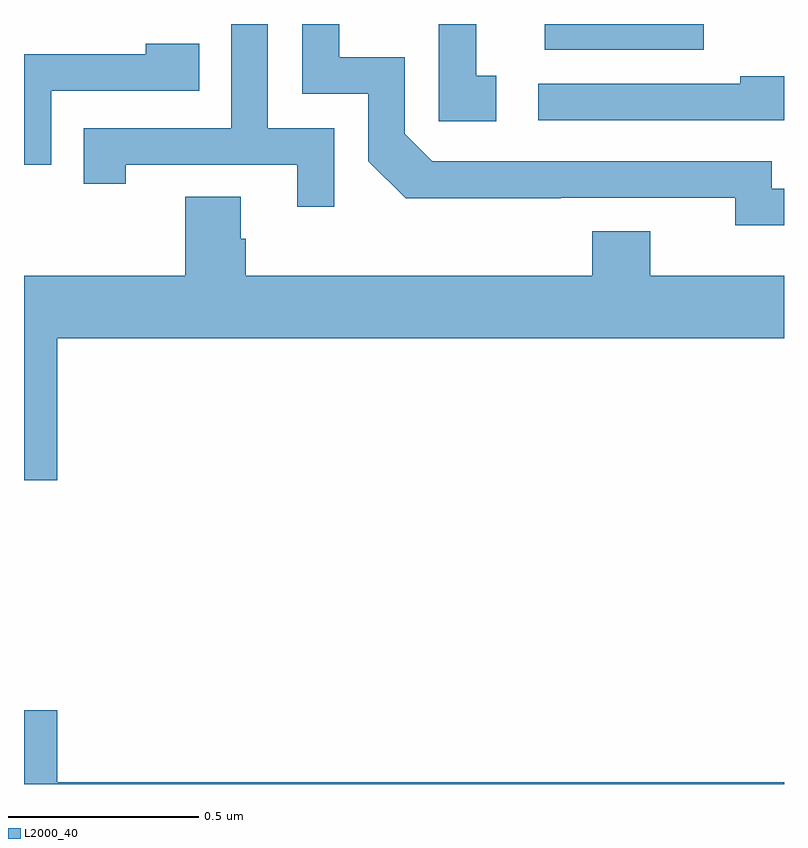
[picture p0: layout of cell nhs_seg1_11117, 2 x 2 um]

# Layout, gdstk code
import gdstk
lib = gdstk.Library(unit=1e-6, precision=1e-09)
def R(c, l, rs):  # rectangles x0, y0, x1, y1
    for r in rs: c.add(gdstk.rectangle(r[:2], r[2:], *l))
def P(c, l, *ps):  # polygons
    for p in ps: c.add(gdstk.Polygon(p, *l))
L2000_40 = (2000, 40)

nhs_seg1_11117 = lib.new_cell('nhs_seg1_11117')
R(nhs_seg1_11117, L2000_40, [(250.37,579.131,250.789,579.199)])
P(nhs_seg1_11117, L2000_40, [(249.816,578.925),(249.642,578.925),(249.642,579.199),(249.546,579.199),(249.546,578.925),(249.157,578.925),(249.157,578.778),(249.268,578.778),(249.268,578.829),(249.719,578.829),(249.719,578.718),(249.816,578.718)],
  [(250.243,579.063),(250.19,579.063),(250.19,579.199),(250.092,579.199),(250.092,578.943),(250.243,578.943)],
  [(251,578.766),(250.968,578.766),(250.968,578.838),(250.074,578.838),(250.002,578.91),(250.002,579.111),(249.829,579.111),(249.829,579.199),(249.732,579.199),(249.732,579.015),(249.906,579.015),(249.906,578.838),(250.004,578.741),(250.412,578.741),(250.412,578.742),(250.872,578.742),(250.872,578.669),(251,578.669)],
  [(249.072,579.024),(249.461,579.024),(249.461,579.147),(249.321,579.147),(249.321,579.12),(249,579.12),(249,578.829),(249.072,578.829)],
  [(251,579.062),(250.885,579.062),(250.885,579.042),(250.353,579.042),(250.353,578.946),(251,578.946)],
  [(249.088,578.372),(251,578.372),(251,578.536),(250.648,578.536),(250.648,578.653),(250.496,578.653),(250.496,578.536),(249.584,578.536),(249.584,578.634),(249.571,578.634),(249.571,578.744),(249.424,578.744),(249.424,578.536),(249,578.536),(249,577.998),(249.088,577.998)],
  [(251,577.204),(249.088,577.204),(249.088,577.393),(249,577.393),(249,577.199),(251,577.199)])

lib.write_gds('nhs_seg1_11117.gds')
